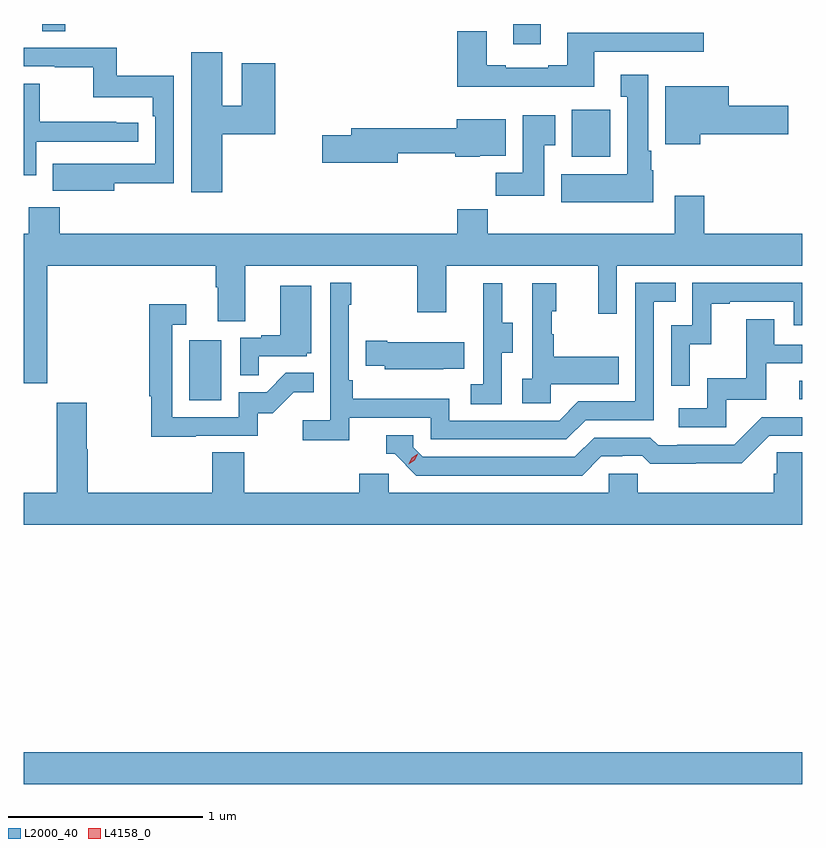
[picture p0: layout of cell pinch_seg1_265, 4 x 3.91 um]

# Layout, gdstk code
import gdstk
lib = gdstk.Library(unit=1e-6, precision=1e-09)
def R(c, l, rs):  # rectangles x0, y0, x1, y1
    for r in rs: c.add(gdstk.rectangle(r[:2], r[2:], *l))
def P(c, l, *ps):  # polygons
    for p in ps: c.add(gdstk.Polygon(p, *l))
L2000_40 = (2000, 40)
L4158_0 = (4158, 0)

pinch_seg1_265 = lib.new_cell('pinch_seg1_265')
R(pinch_seg1_265, L2000_40, [(933.033,566.384,937.033,566.548), (933.884,568.356,934.048,568.663), (937.017,568.362,937.033,568.455), (935.849,569.606,936.046,569.848), (935.549,570.186,935.689,570.289), (933.129,570.253,933.245,570.289)])
P(pinch_seg1_265, L2000_40, [(935.965,570.147),(936.526,570.147),(936.526,570.244),(935.825,570.244),(935.825,570.076),(935.729,570.076),(935.729,570.063),(935.509,570.063),(935.509,570.076),(935.413,570.076),(935.413,570.253),(935.261,570.253),(935.261,569.966),(935.965,569.966)],
  [(933.499,569.47),(933.804,569.47),(933.804,570.022),(933.511,570.022),(933.511,570.168),(933.033,570.168),(933.033,570.072),(933.193,570.072),(933.193,570.067),(933.39,570.067),(933.39,569.912),(933.695,569.912),(933.695,569.816),(933.708,569.816),(933.708,569.571),(933.395,569.571),(933.395,569.572),(933.181,569.572),(933.181,569.432),(933.499,569.432)],
  [(934.054,569.723),(934.325,569.723),(934.325,570.088),(934.154,570.088),(934.154,569.87),(934.054,569.87),(934.054,570.145),(933.893,570.145),(933.893,569.424),(934.054,569.424)],
  [(936.268,569.538),(936.256,569.538),(936.256,569.638),(936.241,569.638),(936.241,570.028),(936.101,570.028),(936.101,569.915),(936.134,569.915),(936.134,569.518),(935.795,569.518),(935.795,569.372),(936.268,569.372)],
  [(933.096,569.685),(933.622,569.685),(933.622,569.781),(933.509,569.781),(933.509,569.786),(933.116,569.786),(933.116,569.982),(933.033,569.982),(933.033,569.513),(933.096,569.513)],
  [(936.508,569.723),(936.961,569.723),(936.961,569.87),(936.655,569.87),(936.655,569.968),(936.329,569.968),(936.329,569.672),(936.508,569.672)],
  [(935.707,569.665),(935.764,569.665),(935.764,569.821),(935.597,569.821),(935.597,569.524),(935.458,569.524),(935.458,569.406),(935.707,569.406)],
  [(934.954,569.625),(935.251,569.625),(935.251,569.606),(935.376,569.606),(935.376,569.612),(935.509,569.612),(935.509,569.8),(935.258,569.8),(935.258,569.753),(934.715,569.753),(934.715,569.717),(934.566,569.717),(934.566,569.575),(934.954,569.575)],
  [(933.154,569.048),(934.019,569.048),(934.019,568.936),(934.031,568.936),(934.031,568.762),(934.171,568.762),(934.171,569.048),(935.056,569.048),(935.056,568.809),(935.203,568.809),(935.203,569.048),(935.984,569.048),(935.984,568.8),(936.081,568.8),(936.081,569.048),(937.033,569.048),(937.033,569.212),(936.53,569.212),(936.53,569.407),(936.377,569.407),(936.377,569.212),(935.417,569.212),(935.417,569.336),(935.261,569.336),(935.261,569.212),(933.218,569.212),(933.218,569.347),(933.058,569.347),(933.058,569.212),(933.033,569.212),(933.033,568.442),(933.154,568.442)],
  [(934.706,568.266),(935.124,568.266),(935.124,568.155),(935.821,568.155),(935.92,568.254),(936.27,568.254),(936.27,568.863),(936.383,568.863),(936.383,568.959),(936.174,568.959),(936.174,568.35),(935.883,568.35),(935.784,568.251),(935.22,568.251),(935.22,568.363),(934.724,568.363),(934.724,568.459),(934.704,568.459),(934.704,568.847),(934.717,568.847),(934.717,568.96),(934.608,568.96),(934.608,568.252),(934.467,568.252),(934.467,568.15),(934.706,568.15)],
  [(936.456,568.643),(936.566,568.643),(936.566,568.851),(936.661,568.851),(936.661,568.863),(936.99,568.863),(936.99,568.74),(937.033,568.74),(937.033,568.959),(936.468,568.959),(936.468,568.74),(936.36,568.74),(936.36,568.431),(936.456,568.431)],
  [(935.49,568.6),(935.545,568.6),(935.545,568.755),(935.491,568.755),(935.491,568.957),(935.393,568.957),(935.393,568.743),(935.394,568.743),(935.394,568.439),(935.331,568.439),(935.331,568.336),(935.49,568.336)],
  [(935.742,568.439),(936.089,568.439),(936.089,568.579),(935.755,568.579),(935.755,568.694),(935.745,568.694),(935.745,568.812),(935.77,568.812),(935.77,568.957),(935.646,568.957),(935.646,568.466),(935.595,568.466),(935.595,568.341),(935.742,568.341)],
  [(934.241,568.581),(934.488,568.581),(934.488,568.596),(934.51,568.596),(934.51,568.945),(934.352,568.945),(934.352,568.69),(934.253,568.69),(934.253,568.677),(934.146,568.677),(934.146,568.483),(934.241,568.483)],
  [(933.917,568.173),(934.236,568.173),(934.236,568.29),(934.312,568.29),(934.419,568.397),(934.523,568.397),(934.523,568.496),(934.379,568.496),(934.281,568.398),(934.137,568.398),(934.137,568.269),(933.795,568.269),(933.795,568.743),(933.868,568.743),(933.868,568.849),(933.679,568.849),(933.679,568.376),(933.687,568.376),(933.687,568.168),(933.917,568.168)],
  [(936.642,568.359),(936.847,568.359),(936.847,568.545),(937.033,568.545),(937.033,568.641),(936.889,568.641),(936.889,568.771),(936.745,568.771),(936.745,568.468),(936.546,568.468),(936.546,568.314),(936.399,568.314),(936.399,568.218),(936.642,568.218)],
  [(935.189,568.517),(935.297,568.517),(935.297,568.654),(934.9,568.654),(934.9,568.662),(934.789,568.662),(934.789,568.532),(934.887,568.532),(934.887,568.514),(935.189,568.514)],
  [(937.033,568.088),(936.901,568.088),(936.901,567.978),(936.887,567.978),(936.887,567.88),(936.189,567.88),(936.189,567.978),(936.039,567.978),(936.039,567.88),(934.908,567.88),(934.908,567.978),(934.757,567.978),(934.757,567.88),(934.166,567.88),(934.166,568.088),(934.001,568.088),(934.001,567.88),(933.362,567.88),(933.362,568.103),(933.357,568.103),(933.357,568.342),(933.202,568.342),(933.202,567.88),(933.033,567.88),(933.033,567.716),(937.033,567.716)],
  [(936.001,568.068),(936.108,568.068),(936.108,568.071),(936.211,568.071),(936.253,568.029),(936.486,568.029),(936.486,568.031),(936.722,568.031),(936.864,568.173),(937.033,568.173),(937.033,568.269),(936.825,568.269),(936.684,568.128),(936.391,568.128),(936.391,568.125),(936.292,568.125),(936.253,568.164),(935.964,568.164),(935.865,568.065),(935.082,568.065),(935.034,568.113),(935.034,568.176),(934.895,568.176),(934.895,568.08),(934.938,568.08),(935.049,567.969),(935.902,567.969)])
P(pinch_seg1_265, L4158_0, [(935.01,568.028),(935.01,568.028),(935.026,568.06),(935.057,568.08),(935.058,568.08),(935.058,568.079),(935.041,568.047),(935.01,568.028)])

lib.write_gds('pinch_seg1_265.gds')
